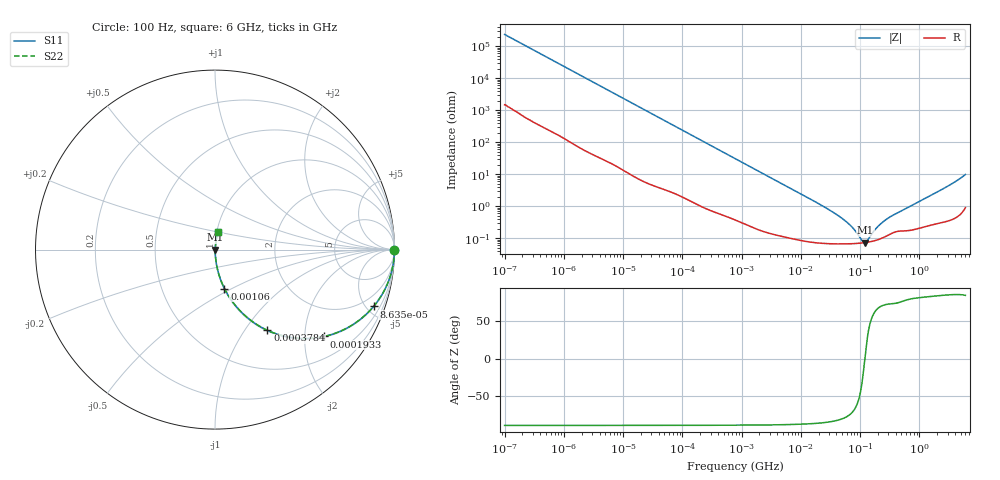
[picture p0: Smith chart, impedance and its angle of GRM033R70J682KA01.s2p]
!Murata Part Number: GRM033R70J682KA01
!These Parameters are Measured in Series Mode Connection
!Data Generated on Mar 30, 2021
!  o--ll--o
!Port1  Port2
!  o------o
!Operation Temp=25[degC], DC Bias Voltage=0[V]
!Freq. Start=100[Hz] Stop=6[GHz] 401[Steps]
# Hz S RI R 50
!Freq.(Hz) S11(Real) S11(Imag) S21(Real) S21(Imag) S12(Real) S12(Imag) S22(Real) S22(Imag)
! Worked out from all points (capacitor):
!   401 points, 100 Hz to 6 GHz, reference 50 ohm
!   read as one part in series: C = 6.78 nF near 109 Hz
!   lowest |Z| = 73.5 mohm at 122 MHz (marker M1)
!   series resonance near 120.5 MHz, so ESL is about 260 pH
!   S11 on the Smith chart (normalised r, x): 100 Hz: open; 86.35 kHz: 1.04, -5.56; 193.3 kHz: 1.02, -2.49; 378.4 kHz: 1.01, -1.28; 1.06 MHz: 1.01, -0.46; 6 GHz: 1.02, +0.20
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100  1 -0.000427  2.9e-06 0.000427  2.9e-06 0.000427  1 -0.000427
2008  0.9999 -0.00848  0.000116 0.00848  0.000116 0.00848  0.9999 -0.00848
12592  0.9969 -0.0527  0.00307 0.0527  0.00307 0.0527  0.9969 -0.0527
40335  0.9713 -0.1637  0.0287 0.1637  0.0287 0.1637  0.9713 -0.1637
86348  0.8834 -0.317  0.1166 0.317  0.1166 0.317  0.8834 -0.317
129199  0.7742 -0.414  0.2258 0.414  0.2258 0.414  0.7742 -0.414
193316  0.6076 -0.4841  0.3924 0.4841  0.3924 0.4841  0.6076 -0.4841
378399  0.2917 -0.4497  0.7083 0.4497  0.7083 0.4497  0.2917 -0.4497
774597  0.0923 -0.2835  0.9077 0.2835  0.9077 0.2835  0.0923 -0.2835
1059725  0.0526 -0.217  0.9474 0.217  0.9474 0.217  0.0526 -0.217
3245845  0.007 -0.0748  0.993 0.0748  0.993 0.0748  0.007 -0.0748
1.555665e7  0.000991 -0.0156  0.999 0.0156  0.999 0.0156  0.000991 -0.0156
3.330331e7  0.00072 -0.00688  0.9993 0.00688  0.9993 0.00688  0.00072 -0.00688
5.449875e7  0.00068 -0.00362  0.9993 0.00362  0.9993 0.00362  0.00068 -0.00362
7.797396e7  0.000684 -0.00185  0.9993 0.00185  0.9993 0.00185  0.000684 -0.00185
1.066761e8  0.000712 -0.000501  0.9993 0.000501  0.9993 0.000501  0.000712 -0.000501
1.220122e8  0.000733 5.19e-05  0.9993 -5.19e-05  0.9993 -5.19e-05  0.000733 5.19e-05
1.334425e8  0.000751 0.00042  0.9992 -0.00042  0.9992 -0.00042  0.000751 0.00042
1.996653e8  0.000904 0.00214  0.9991 -0.00214  0.9991 -0.00214  0.000904 0.00214
3.124326e8  0.00133 0.00431  0.9987 -0.00431  0.9987 -0.00431  0.00133 0.00431
2.562649e9  0.00442 0.0354  0.9956 -0.0354  0.9956 -0.0354  0.00442 0.0354
6e9  0.0182 0.0955  0.9818 -0.0955  0.9818 -0.0955  0.0182 0.0955
